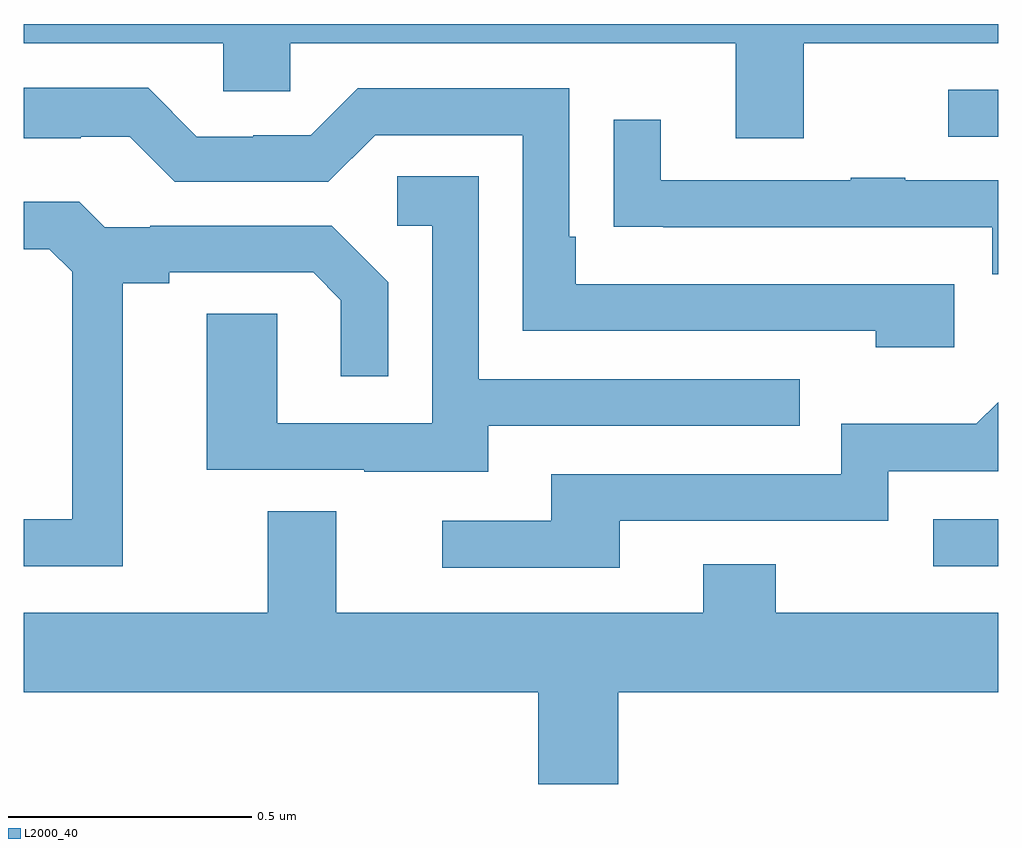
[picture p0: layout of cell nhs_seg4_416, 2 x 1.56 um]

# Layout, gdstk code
import gdstk
lib = gdstk.Library(unit=1e-6, precision=1e-09)
def R(c, l, rs):  # rectangles x0, y0, x1, y1
    for r in rs: c.add(gdstk.rectangle(r[:2], r[2:], *l))
def P(c, l, *ps):  # polygons
    for p in ps: c.add(gdstk.Polygon(p, *l))
L2000_40 = (2000, 40)

nhs_seg4_416 = lib.new_cell('nhs_seg4_416')
R(nhs_seg4_416, L2000_40, [(117.867,755.787,118,755.883), (117.897,756.669,118,756.765)])
P(nhs_seg4_416, L2000_40, [(117.601,756.86),(118,756.86),(118,756.9),(116,756.9),(116,756.86),(116.409,756.86),(116.409,756.762),(116.547,756.762),(116.547,756.86),(117.461,756.86),(117.461,756.666),(117.601,756.666)],
  [(117.91,756.366),(117.133,756.366),(117.133,756.463),(117.12,756.463),(117.12,756.768),(116.685,756.768),(116.589,756.672),(116.471,756.672),(116.471,756.669),(116.355,756.669),(116.255,756.769),(116,756.769),(116,756.665),(116.117,756.665),(116.117,756.669),(116.217,756.669),(116.31,756.576),(116.625,756.576),(116.721,756.672),(117.024,756.672),(117.024,756.27),(117.749,756.27),(117.749,756.236),(117.91,756.236)],
  [(118,756.579),(117.809,756.579),(117.809,756.584),(117.697,756.584),(117.697,756.579),(117.307,756.579),(117.307,756.703),(117.211,756.703),(117.211,756.484),(117.313,756.484),(117.313,756.483),(117.988,756.483),(117.988,756.386),(118,756.386)],
  [(116.953,756.075),(117.593,756.075),(117.593,756.171),(116.934,756.171),(116.934,756.587),(116.766,756.587),(116.766,756.486),(116.838,756.486),(116.838,756.081),(116.52,756.081),(116.52,756.305),(116.375,756.305),(116.375,755.985),(116.699,755.985),(116.699,755.981),(116.953,755.981)],
  [(116.203,756.368),(116.299,756.368),(116.299,756.39),(116.594,756.39),(116.651,756.333),(116.651,756.177),(116.748,756.177),(116.748,756.37),(116.632,756.486),(116.26,756.486),(116.26,756.483),(116.166,756.483),(116.114,756.535),(116,756.535),(116,756.438),(116.052,756.438),(116.099,756.391),(116.099,755.883),(116,755.883),(116,755.787),(116.203,755.787)],
  [(117.223,755.88),(117.774,755.88),(117.774,755.982),(118,755.982),(118,756.124),(117.955,756.079),(117.678,756.079),(117.678,755.976),(117.083,755.976),(117.083,755.88),(116.859,755.88),(116.859,755.784),(117.223,755.784)],
  [(117.22,755.528),(118,755.528),(118,755.692),(117.543,755.692),(117.543,755.791),(117.395,755.791),(117.395,755.692),(116.641,755.692),(116.641,755.9),(116.501,755.9),(116.501,755.692),(116,755.692),(116,755.528),(117.056,755.528),(117.056,755.34),(117.22,755.34)])

lib.write_gds('nhs_seg4_416.gds')
